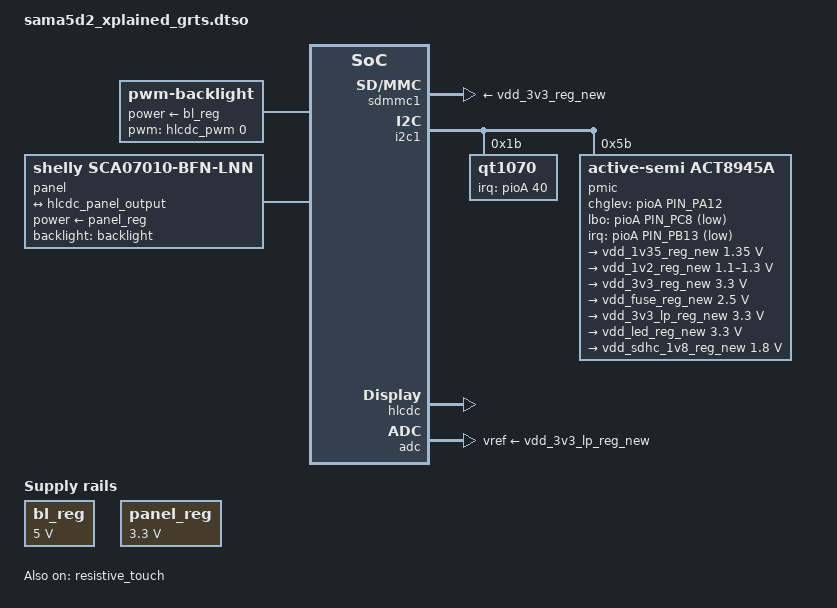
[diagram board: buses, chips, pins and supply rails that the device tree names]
// SPDX-License-Identifier: (GPL-2.0+ OR MIT)
/*
 * Device Tree file for SAMA5D2 Xplained board
 * overlay blob for Resistive touchscreen display adapted board.
 *
 * Copyright (C) 2018 Microchip Technology, Inc.
 * Author: Eugen Hristev <eugen.hristev@microchip.com>
 *
 */
/dts-v1/;
/plugin/;

#include "sama5d2-pinfunc.h"
#include "dt-bindings/pinctrl/at91.h"
#include <dt-bindings/mfd/atmel-flexcom.h>
#include <dt-bindings/gpio/gpio.h>
#include <dt-bindings/interrupt-controller/irq.h>

/* The modified board has the pmic on a different i2c bus */
&i2c0 {
	pmic@5b {
		status = "disabled";
	};
};

/* sdmmc1 needs reference to the regulators, change them to new supplier */
&sdmmc1 {
	vqmmc-supply = <&vdd_3v3_reg_new>;
	vmmc-supply = <&vdd_3v3_reg_new>;
};

&i2c1 {
	#address-cells = <1>;
	#size-cells = <0>;

	qt1070: keyboard@1b {
		compatible = "qt1070";
		reg = <0x1b>;
		interrupt-parent = <&pioA>;
		interrupts = <40 0x0>;
		pinctrl-names = "default";
		pinctrl-0 = <&pinctrl_qt1070_irq>;
		wakeup-source;
	};

	/* new PMIC goes on this bus */
	pmic@5b {
		compatible = "active-semi,act8945a";
		reg = <0x5b>;
		active-semi,vsel-high;
		active-semi,chglev-gpios = <&pioA PIN_PA12 GPIO_ACTIVE_HIGH>;
		active-semi,lbo-gpios = <&pioA PIN_PC8 GPIO_ACTIVE_LOW>;
		active-semi,irq_gpios = <&pioA PIN_PB13 GPIO_ACTIVE_LOW>;
		active-semi,input-voltage-threshold-microvolt = <6600>;
		active-semi,precondition-timeout = <40>;
		active-semi,total-timeout = <3>;
		status = "okay";

		regulators {
			vdd_1v35_reg_new: REG_DCDC1 {
				regulator-name = "VDD_1V35";
				regulator-min-microvolt = <1350000>;
				regulator-max-microvolt = <1350000>;
				regulator-always-on;
			};

			vdd_1v2_reg_new: REG_DCDC2 {
				regulator-name = "VDD_1V2";
				regulator-min-microvolt = <1100000>;
				regulator-max-microvolt = <1300000>;
				regulator-always-on;
			};

			vdd_3v3_reg_new: REG_DCDC3 {
				regulator-name = "VDD_3V3";
				regulator-min-microvolt = <3300000>;
				regulator-max-microvolt = <3300000>;
				regulator-always-on;
			};

			vdd_fuse_reg_new: REG_LDO1 {
				regulator-name = "VDD_FUSE";
				regulator-min-microvolt = <2500000>;
				regulator-max-microvolt = <2500000>;
				regulator-always-on;
			};

			vdd_3v3_lp_reg_new: REG_LDO2 {
				regulator-name = "VDD_3V3_LP";
				regulator-min-microvolt = <3300000>;
				regulator-max-microvolt = <3300000>;
				regulator-always-on;
			};

			vdd_led_reg_new: REG_LDO3 {
				regulator-name = "VDD_LED";
				regulator-min-microvolt = <3300000>;
				regulator-max-microvolt = <3300000>;
				regulator-always-on;
			};

			vdd_sdhc_1v8_reg_new: REG_LDO4 {
				regulator-name = "VDD_SDHC_1V8";
				regulator-min-microvolt = <1800000>;
				regulator-max-microvolt = <1800000>;
				regulator-always-on;
			};
		};
	};
};

&resistive_touch {
	status = "okay";
};

&hlcdc {
	status = "okay";

	hlcdc-display-controller {
	pinctrl-names = "default";
	pinctrl-0 = <&pinctrl_lcd_base &pinctrl_lcd_rgb666>;
		port@0 {
			#address-cells = <1>;
			#size-cells = <0>;
			hlcdc_panel_output: endpoint@0 {
				reg = <0>;
				remote-endpoint = <&panel_input>;
			};
		};
	};

	hlcdc_pwm: hlcdc-pwm {
		pinctrl-names = "default";
		pinctrl-0 = <&pinctrl_lcd_pwm>;
	};
};

&pioA {
	pinctrl_qt1070_irq: pinctrl_qt1070_irq {
		pinmux = <PIN_PB8__GPIO>;
		bias-pull-up;
		input-debounce = <1>;
	};

	pinctrl_lcd_base: pinctrl_lcd_base {
		pinmux = <PIN_PC30__LCDVSYNC>,
			 <PIN_PC31__LCDHSYNC>,
			 <PIN_PD1__LCDDEN>,
			 <PIN_PD0__LCDPCK>;
		bias-disable;
		atmel,drive-strength = <ATMEL_PIO_DRVSTR_ME>;
	};

	pinctrl_lcd_pwm: pinctrl_lcd_pwm {
		pinmux = <PIN_PC28__LCDPWM>;
		bias-disable;
	};

	pinctrl_lcd_rgb666: pinctrl_lcd_rgb666 {
		pinmux = <PIN_PC10__LCDDAT2>,
			 <PIN_PC11__LCDDAT3>,
			 <PIN_PC12__LCDDAT4>,
			 <PIN_PC13__LCDDAT5>,
			 <PIN_PC14__LCDDAT6>,
			 <PIN_PC15__LCDDAT7>,
			 <PIN_PC16__LCDDAT10>,
			 <PIN_PC17__LCDDAT11>,
			 <PIN_PC18__LCDDAT12>,
			 <PIN_PC19__LCDDAT13>,
			 <PIN_PC20__LCDDAT14>,
			 <PIN_PC21__LCDDAT15>,
			 <PIN_PC22__LCDDAT18>,
			 <PIN_PC23__LCDDAT19>,
			 <PIN_PC24__LCDDAT20>,
			 <PIN_PC25__LCDDAT21>,
			 <PIN_PC26__LCDDAT22>,
			 <PIN_PC27__LCDDAT23>;
		bias-disable;
	};
};

/* the adc needs reference to the new regulators */
&adc {
	vddana-supply = <&vdd_3v3_lp_reg_new>;
	vref-supply = <&vdd_3v3_lp_reg_new>;
};

&{/} {
	model = "Atmel SAMA5D2 Xplained Resistive touch adapted board";

	backlight: backlight {
		compatible = "pwm-backlight";
		pwms = <&hlcdc_pwm 0 50000 0>;
		brightness-levels = <0 4 8 16 32 64 128 255>;
		default-brightness-level = <7>;
		power-supply = <&bl_reg>;
		status = "okay";
	};

	bl_reg: backlight_regulator {
		compatible = "regulator-fixed";
		regulator-name = "backlight-power-supply";
		regulator-min-microvolt = <5000000>;
		regulator-max-microvolt = <5000000>;
		status = "okay";
	};

	panel: panel {
		compatible = "shelly,sca07010-bfn-lnn", "simple-panel";
		backlight = <&backlight>;
		power-supply = <&panel_reg>;
		#address-cells = <1>;
		#size-cells = <0>;
		status = "okay";

		port@0 {
			reg = <0>;
			#address-cells = <1>;
			#size-cells = <0>;

			panel_input: endpoint@0 {
				reg = <0>;
				remote-endpoint = <&hlcdc_panel_output>;
			};
		};
	};

	panel_reg: panel_regulator {
		compatible = "regulator-fixed";
		regulator-name = "panel-power-supply";
		regulator-min-microvolt = <3300000>;
		regulator-max-microvolt = <3300000>;
		status = "okay";
	};
};

&can0 {
	status = "disabled";
};

&can1 {
	status = "disabled";
};
